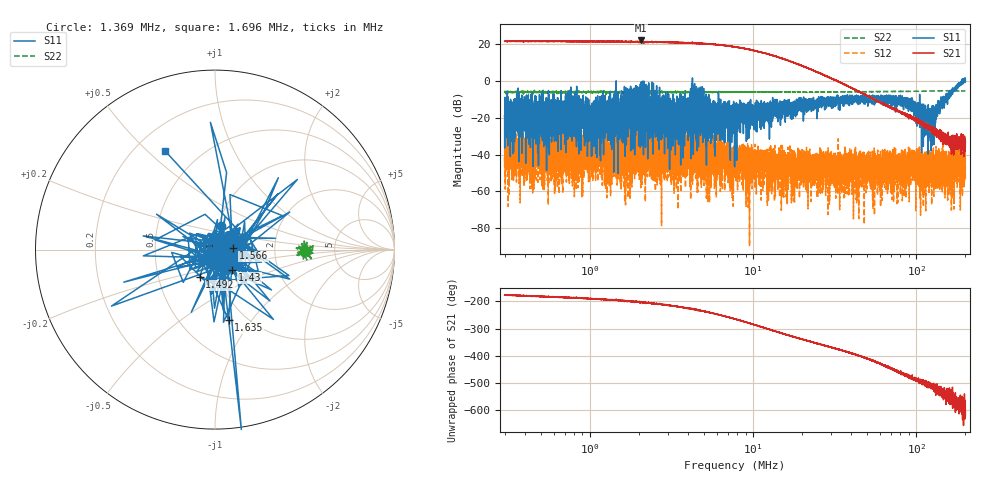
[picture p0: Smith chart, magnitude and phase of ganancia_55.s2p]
# Hz S DB R 50
! CMT, M5065, 19127446, 24.2.4/2
! Date: 11/1/2024 3:46:50 PM
! Data: Format (Calibration Info)
! Freq	S11:dB/Ang(F2)	S21:dB/Ang(F2)	S12:dB/Ang(F2)	S22:dB/Ang(F2)
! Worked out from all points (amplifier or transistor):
!   9000 points, 300 kHz to 200 MHz, reference 50 ohm
!   highest |S21| = 22.0 dB at 2.059 MHz (marker M1)
!   |S21| within 3 dB of that: start of sweep to 6.988 MHz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
!   unconditionally stable (mu >= 1): 2.842 MHz to 3.452 MHz; 4.888 MHz to 190.7 MHz; 190.93 MHz to 191.8234 MHz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
!   at 886.8 kHz: K = 3.19, MAG = 22.9 dB, |S12| = -40.3 dB
!   at 7.749 MHz: K = 4.75, MAG = 19.9 dB, |S12| = -40.8 dB
!   at 200 MHz: K = -164.57, MSG = 10.2 dB, |S12| = -52.9 dB
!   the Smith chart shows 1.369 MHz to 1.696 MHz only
!   S11 on the Smith chart (normalised r, x): 1.369 MHz: 1.04, +0.27; 1.43 MHz: 1.18, -0.27; 1.492 MHz: 0.81, -0.26; 1.566 MHz: 1.23, +0.02; 1.635 MHz: 0.83, -0.78; 1.696 MHz: 0.32, +0.57
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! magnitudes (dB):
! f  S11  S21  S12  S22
! 300 kHz  -19.0  21.6  -41.2  -5.9
! 886.8 kHz  -14.5  21.4  -40.3  -6.2
! 1.035 MHz  -20.9  21.5  -45.2  -6.0
! 1.369 MHz  -17.4  21.4  -40.8  -5.8
! 1.43 MHz  -16.6  21.4  -34.7  -5.9
! 1.492 MHz  -15.1  21.5  -36.9  -6.2
! 1.566 MHz  -19.8  21.3  -51.3  -6.0
! 1.635 MHz  -8.0  21.4  -36.5  -5.8
! 1.696 MHz  -4.2  21.6  -57.0  -6.0
! 2.059 MHz  -0.5  22.0  -36.9  -5.7
! 2.621 MHz  -32.5  21.1  -29.1  -5.5
! 3.04 MHz  -18.6  21.0  -39.4  -6.1
! 4.285 MHz  -15.1  20.6  -44.0  -6.0
! 7.749 MHz  -18.2  18.6  -40.8  -6.0
! 22.91 MHz  -12.8  6.1  -44.4  -5.9
! 67.71 MHz  -8.9  -13.9  -49.4  -5.7
! 93.79 MHz  -14.0  -19.6  -49.5  -5.6
! 108.1 MHz  -19.9  -22.5  -45.1  -5.6
! 120.6 MHz  -19.5  -25.5  -49.3  -5.5
! 160.4 MHz  -6.4  -32.5  -43.7  -5.3
! 180.1 MHz  -2.5  -34.9  -46.9  -5.4
! 200 MHz  0.1  -32.4  -52.9  -5.4
